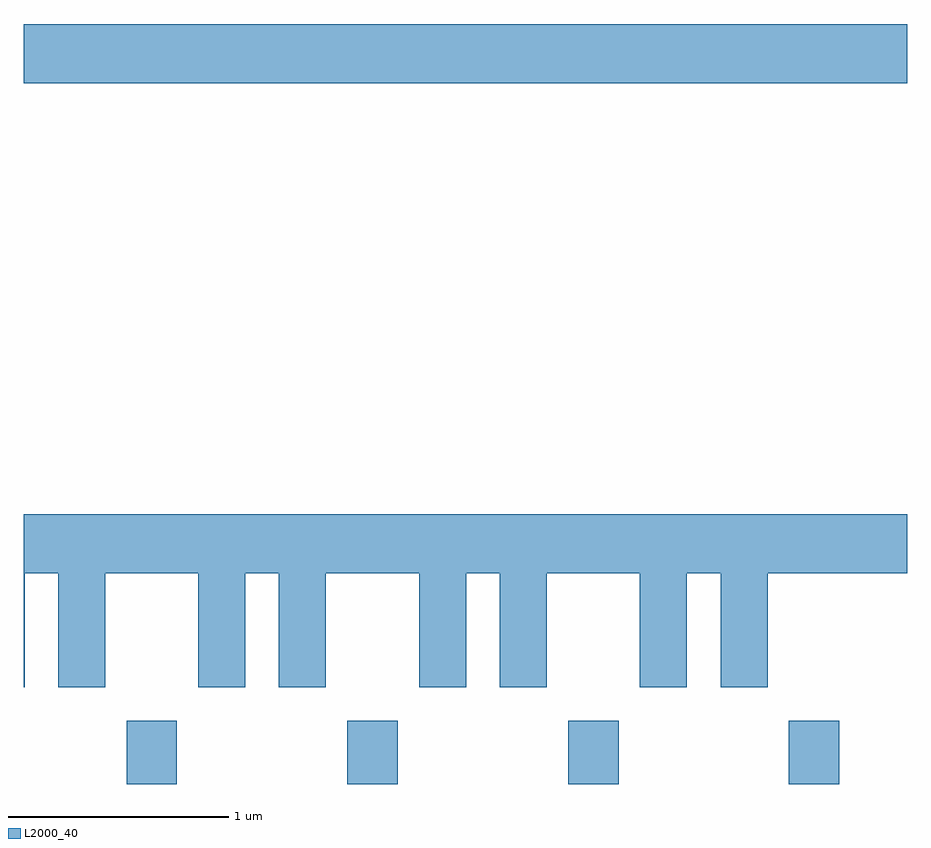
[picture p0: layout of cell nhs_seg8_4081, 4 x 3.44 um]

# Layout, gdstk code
import gdstk
lib = gdstk.Library(unit=1e-6, precision=1e-09)
def R(c, l, rs):  # rectangles x0, y0, x1, y1
    for r in rs: c.add(gdstk.rectangle(r[:2], r[2:], *l))
def A(c, l, x, y, w, h, nx, ny, dx, dy):  # array of equal rectangles
    R(c, l, [(x+i*dx, y+j*dy, x+i*dx+w, y+j*dy+h) for i in range(nx) for j in range(ny)])
def P(c, l, *ps):  # polygons
    for p in ps: c.add(gdstk.Polygon(p, *l))
L2000_40 = (2000, 40)

nhs_seg8_4081 = lib.new_cell('nhs_seg8_4081')
A(nhs_seg8_4081, L2000_40, 308.076, 1844.342, 0.228, 0.287, 4, 1, 1, 0)
R(nhs_seg8_4081, L2000_40, [(307.611,1847.516,311.611,1847.784)])
P(nhs_seg8_4081, L2000_40, [(307.611,1844.781),(307.614,1844.781),(307.614,1845.296),(307.766,1845.296),(307.766,1844.781),(307.979,1844.781),(307.979,1845.296),(308.401,1845.296),(308.401,1844.781),(308.614,1844.781),(308.614,1845.296),(308.766,1845.296),(308.766,1844.781),(308.979,1844.781),(308.979,1845.296),(309.401,1845.296),(309.401,1844.781),(309.614,1844.781),(309.614,1845.296),(309.766,1845.296),(309.766,1844.781),(309.979,1844.781),(309.979,1845.296),(310.401,1845.296),(310.401,1844.781),(310.614,1844.781),(310.614,1845.296),(310.766,1845.296),(310.766,1844.781),(310.979,1844.781),(310.979,1845.296),(311.611,1845.296),(311.611,1845.564),(307.611,1845.564)])

lib.write_gds('nhs_seg8_4081.gds')
